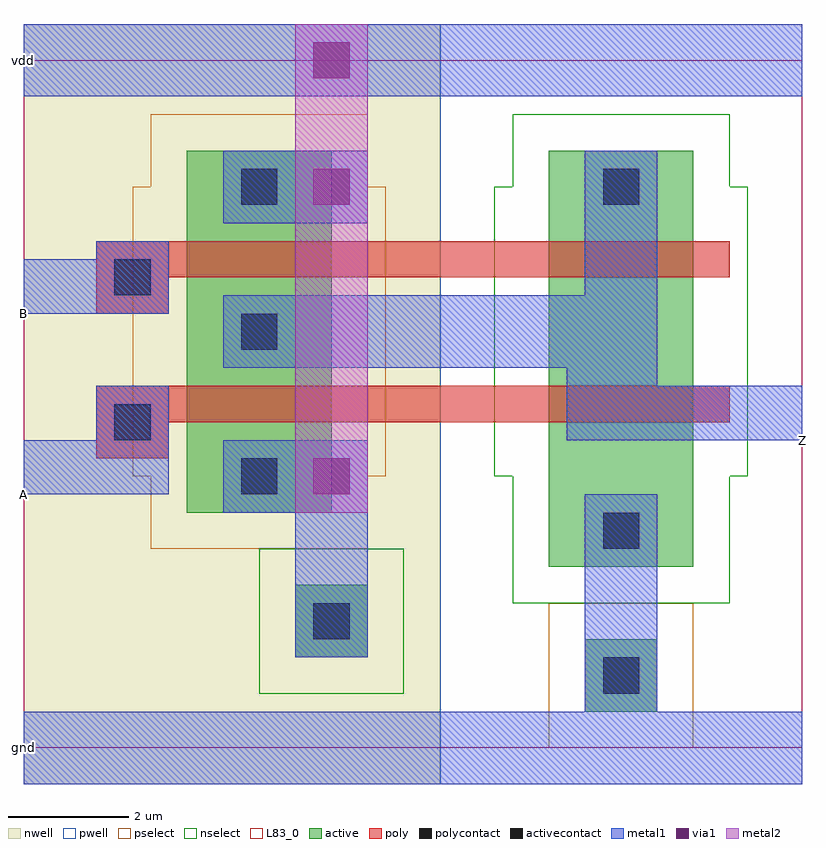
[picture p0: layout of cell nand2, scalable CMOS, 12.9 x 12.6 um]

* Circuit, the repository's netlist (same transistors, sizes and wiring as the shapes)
.SUBCKT nand2 A B Z vdd gnd
M1 gnd A net1 gnd n w=2.4u l=0.6u 
M2 net1 B Z gnd n w=2.4u l=0.6u 
M3 vdd A Z vdd p w=2.4u l=0.6u 
M4 Z B vdd vdd p w=2.4u l=0.6u 
.ENDS nand2

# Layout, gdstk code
import gdstk
lib = gdstk.Library(unit=1e-6, precision=1e-09)
def R(c, l, rs):  # rectangles x0, y0, x1, y1
    for r in rs: c.add(gdstk.rectangle(r[:2], r[2:], *l))
def A(c, l, x, y, w, h, nx, ny, dx, dy):  # array of equal rectangles
    R(c, l, [(x+i*dx, y+j*dy, x+i*dx+w, y+j*dy+h) for i in range(nx) for j in range(ny)])
pwell = (41, 0)
nwell = (42, 0)
active = (43, 0)
pselect = (44, 0)
nselect = (45, 0)
poly = (46, 0)
polycontact = (47, 0)
activecontact = (48, 0)
metal1 = (49, 0)
via1 = (50, 0)
metal2 = (51, 0)
L83_0 = (83, 0)

nand2 = lib.new_cell('nand2')
R(nand2, pwell, [(6.9,-0.6,12.9,12)])
R(nand2, nwell, [(0,-0.6,6.9,12)])
R(nand2, active, [(9.3,0.6,10.5,1.8), (4.5,1.5,5.7,2.7), (8.7,3,11.1,9.9), (2.7,3.9,5.1,9.9)])
R(nand2, pselect, [(8.7,0,11.1,2.4), (2.1,3.3,5.7,4.5), (1.8,4.5,6,9.3), (2.1,9.3,5.7,10.5)])
R(nand2, nselect, [(3.9,0.9,6.3,3.3), (8.1,2.4,11.7,4.5), (7.8,4.5,12,9.3), (8.1,9.3,11.7,10.5)])
R(nand2, poly, [(1.2,4.8,2.4,5.4), (1.2,5.4,11.7,6), (1.2,7.2,2.4,7.8), (1.2,7.8,11.7,8.4)])
R(nand2, polycontact, [(1.5,5.1,2.1,5.7), (1.5,7.5,2.1,8.1)])
A(nand2, activecontact, 3.6, 4.2, 0.6, 0.6, 1, 3, 0, 2.4)
R(nand2, activecontact, [(9.6,0.9,10.2,1.5), (4.8,1.8,5.4,2.4), (9.6,3.3,10.2,3.9), (9.6,9,10.2,9.6)])
R(nand2, metal1, [(0,-0.6,12.9,0.6), (9.3,0.6,10.5,4.2), (4.5,1.5,5.7,3.9), (3.3,3.9,5.7,5.1), (0,4.2,2.4,5.1), (1.2,5.1,2.4,6), (9,5.1,12.9,6), (9,6,10.5,6.3), (3.3,6.3,10.5,7.5), (0,7.2,2.4,8.1), (9.3,7.5,10.5,9.9), (1.2,8.1,2.4,8.4), (3.3,8.7,5.7,9.9), (0,10.8,12.9,12)])
R(nand2, via1, [(4.8,4.2,5.4,4.8), (4.8,9,5.4,9.6), (4.8,11.1,5.4,11.7)])
R(nand2, metal2, [(4.5,3.9,5.7,12)])
R(nand2, L83_0, [(0,0,12.9,11.4)])
nand2.add(gdstk.Label('vdd', (0,11.4), layer=49, texttype=0))
nand2.add(gdstk.Label('gnd', (0,0), layer=49, texttype=0))
nand2.add(gdstk.Label('B', (0,7.2), layer=49, texttype=0))
nand2.add(gdstk.Label('Z', (12.9,5.1), layer=49, texttype=0))
nand2.add(gdstk.Label('A', (0,4.2), layer=49, texttype=0))

lib.write_gds('nand2.gds')
